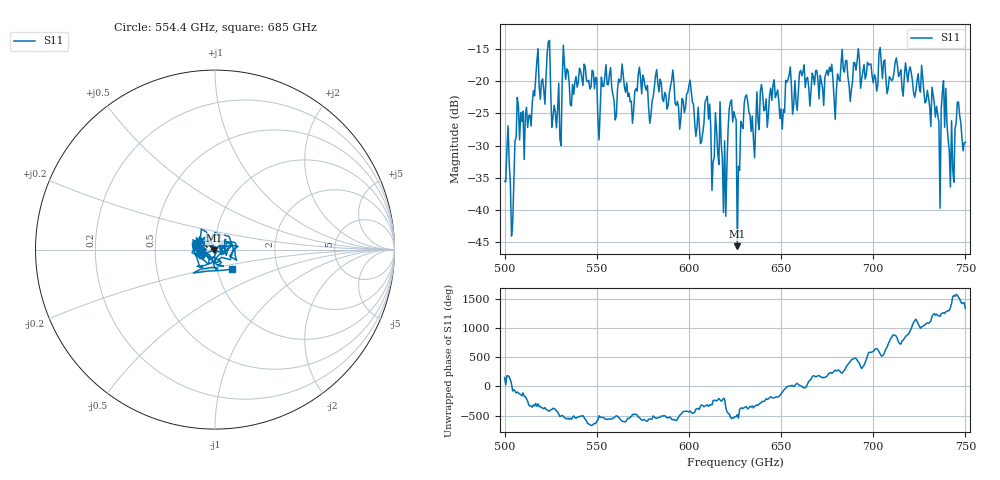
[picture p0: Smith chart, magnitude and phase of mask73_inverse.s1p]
!Created with skrf (http://scikit-rf.org).
# GHz S MA R 50.0
!freq magS11 angS11
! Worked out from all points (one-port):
!   401 points, 500 GHz to 750 GHz, reference 50 ohm
!   lowest |S11| = -45.7 dB at 626.2 GHz (marker M1), VSWR 1.01, Z = 49.7 - j0.431 ohm
!   |S11| at or under -10 dB: start of sweep to end of sweep
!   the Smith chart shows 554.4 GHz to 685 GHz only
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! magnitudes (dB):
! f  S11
! 500 GHz  -35.6
! 503.8 GHz  -44.1
! 506.9 GHz  -22.5
! 516.9 GHz  -19.4
! 523.8 GHz  -13.8
! 526.9 GHz  -23.7
! 531.2 GHz  -19.8
! 533.1 GHz  -19.7
! 551.9 GHz  -24.1
! 562.5 GHz  -20.1
! 593.8 GHz  -23.1
! 600 GHz  -20.7
! 606.9 GHz  -29.4
! 610 GHz  -22.3
! 619.4 GHz  -29.3
! 622.5 GHz  -23.3
! 625 GHz  -25.5
! 626.2 GHz  -45.7
! 631.2 GHz  -22.1
! 635 GHz  -29.0
! 656.2 GHz  -25.1
! 687.5 GHz  -23.1
! 718.8 GHz  -20.1
! 735 GHz  -25.2
! 738.1 GHz  -19.9
! 742.5 GHz  -26.1
! 745.6 GHz  -23.2
! 750 GHz  -29.5
